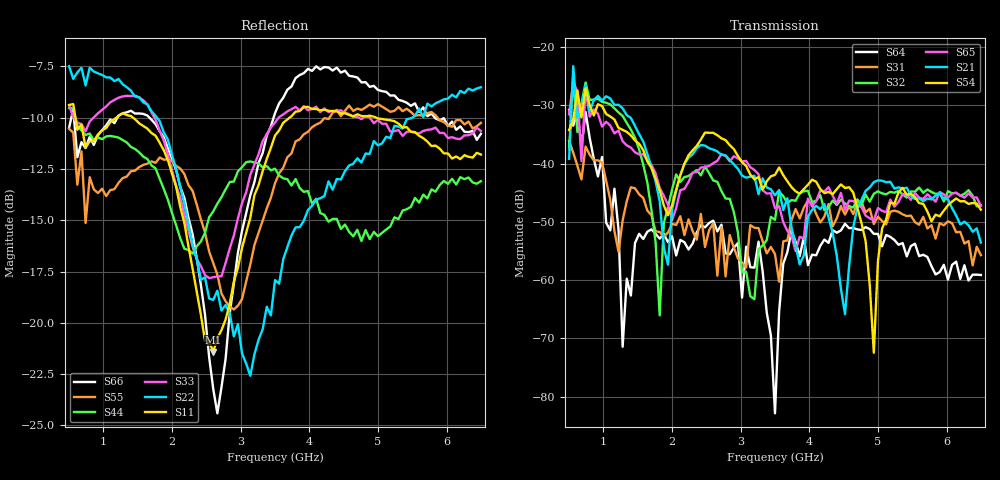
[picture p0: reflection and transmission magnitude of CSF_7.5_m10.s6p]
!Keysight Technologies,M9804A,MY58100912,A.14.10.03
!Date: Thursday, April 27, 2023 10:28:33
!Correction: S11(C  6-Port  )
!S12(C  6-Port  )
!S13(C  6-Port  )
!S14(C  6-Port  )
!S15(C  6-Port  )
!S16(C  6-Port  )
!S21(C  6-Port  )
!S22(C  6-Port  )
!S23(C  6-Port  )
!S24(C  6-Port  )
!S25(C  6-Port  )
!S26(C  6-Port  )
!S31(C  6-Port  )
!S32(C  6-Port  )
!S33(C  6-Port  )
!S34(C  6-Port  )
!S35(C  6-Port  )
!S36(C  6-Port  )
!S41(C  6-Port  )
!S42(C  6-Port  )
!S43(C  6-Port  )
!S44(C  6-Port  )
!S45(C  6-Port  )
!S46(C  6-Port  )
!S51(C  6-Port  )
!S52(C  6-Port  )
!S53(C  6-Port  )
!S54(C  6-Port  )
!S55(C  6-Port  )
!S56(C  6-Port  )
!S61(C  6-Port  )
!S62(C  6-Port  )
!S63(C  6-Port  )
!S64(C  6-Port  )
!S65(C  6-Port  )
!S66(C  6-Port  )
!S6P File: Measurement: :
# Hz S  RI  R 50
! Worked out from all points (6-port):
!   101 points, 500 MHz to 6.5 GHz, reference 50 ohm
!   strongest paths, dB at 500 MHz, 2 GHz, 3.5 GHz, 5 GHz, 6.5 GHz:
!     S54: -34.3, -47.1, -42.0, -56.7, -47.9
!     S21: -39.2, -47.9, -45.5, -42.9, -53.6
!     S65: -31.5, -49.7, -47.7, -47.6, -47.3
!     S32: -37.6, -44.5, -49.7, -44.8, -47.1
!     S31: -36.1, -50.4, -55.5, -49.1, -55.7
!     S64: -30.8, -52.5, -82.9, -52.1, -59.1
!   lowest |S11| = -21.4 dB at 2.6 GHz (marker M1), VSWR 1.19, Z = 42.5 + j2.18 ohm
!   |S11| at or under -10 dB: 591.7 MHz to 1.189 GHz (597.5 MHz wide, 67.1 % of centre); 1.43 GHz to 3.713 GHz (2.283 GHz wide, 88.8 % of centre); 4.972 GHz to end of sweep
